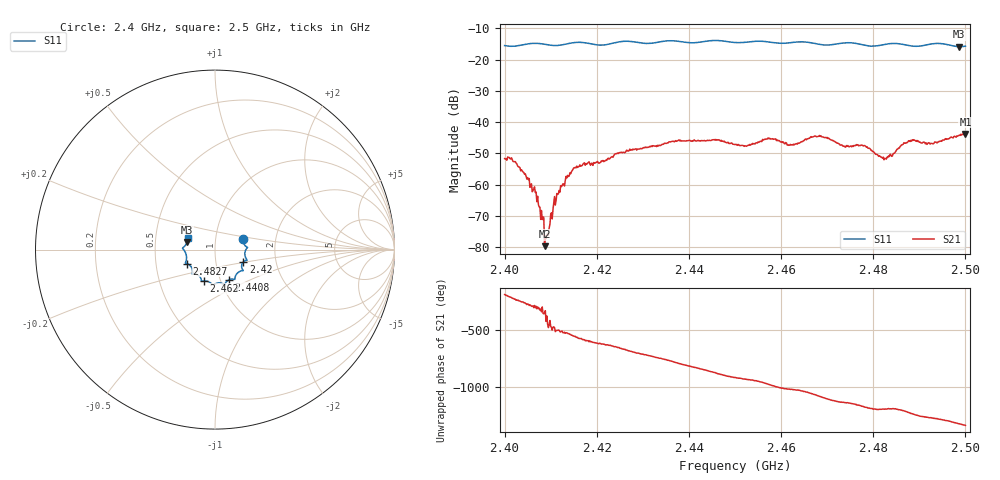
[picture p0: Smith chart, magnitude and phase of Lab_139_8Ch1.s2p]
# Hz S RI R 50
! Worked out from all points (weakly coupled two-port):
!   601 points, 2.4 GHz to 2.5 GHz, reference 50 ohm
!   highest |S21| = -43.80 dB at 2.5 GHz (marker M1); lowest = -79.6 dB at 2.4087 GHz (marker M2)
!   lowest |S11| = -15.9 dB at 2.4987 GHz (marker M3), VSWR 1.38, Z = 36.5 + j3.22 ohm
!   |S11| at or under -10 dB: start of sweep to end of sweep
!   S12 and S22 are empty: the file has one direction only
!   S11 on the Smith chart (normalised r, x): 2.4 GHz: 1.36, +0.17; 2.42 GHz: 1.36, -0.19; 2.4408 GHz: 1.10, -0.38; 2.462 GHz: 0.83, -0.30; 2.4827 GHz: 0.72, -0.12; 2.5 GHz: 0.73, +0.09
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2.4e9  0.1554 0.0617  -0.00261 -6.43e-06  0 0  0 0
2.402e9  0.159 0.0363  -0.00188 0.00139  0 0  0 0
2.404833e9  0.1762 0.0147  -2.18e-05 0.00123  0 0  0 0
2.406833e9  0.1813 0.0118  0.000194 0.000739  0 0  0 0
2.408667e9  0.1756 0.00535  0.000101 2.73e-05  0 0  0 0
2.409167e9  0.1733 0.00169  0.000153 -2.9e-05  0 0  0 0
2.411e9  0.1663 -0.0179  -0.000409 -0.000237  0 0  0 0
2.412333e9  0.1676 -0.0344  -0.00078 -0.00051  0 0  0 0
2.416667e9  0.1786 -0.0589  -0.00171 0.00103  0 0  0 0
2.42e9  0.1572 -0.0693  -0.000654 0.00218  0 0  0 0
2.433333e9  0.112 -0.1528  0.00382 -0.00164  0 0  0 0
2.440833e9  0.0779 -0.1684  -0.00128 -0.00477  0 0  0 0
2.45e9  0.0272 -0.1852  -0.00417 0.00136  0 0  0 0
2.457667e9  -0.0213 -0.1882  -0.000396 0.00535  0 0  0 0
2.462e9  -0.062 -0.1753  0.00255 0.0036  0 0  0 0
2.466667e9  -0.0764 -0.1682  0.00551 0.00163  0 0  0 0
2.477833e9  -0.1253 -0.1161  -0.000536 -0.00411  0 0  0 0
2.482667e9  -0.1577 -0.0775  -0.00129 -0.00228  0 0  0 0
2.483333e9  -0.1616 -0.0764  -0.00125 -0.00261  0 0  0 0
2.488167e9  -0.1583 -0.0471  -0.00482 -0.00177  0 0  0 0
2.498667e9  -0.1549 0.043  -0.00198 0.00585  0 0  0 0
2.5e9  -0.1513 0.0627  -0.0004 0.00644  0 0  0 0
